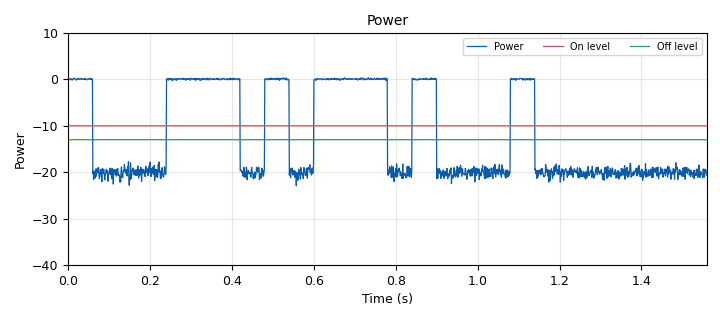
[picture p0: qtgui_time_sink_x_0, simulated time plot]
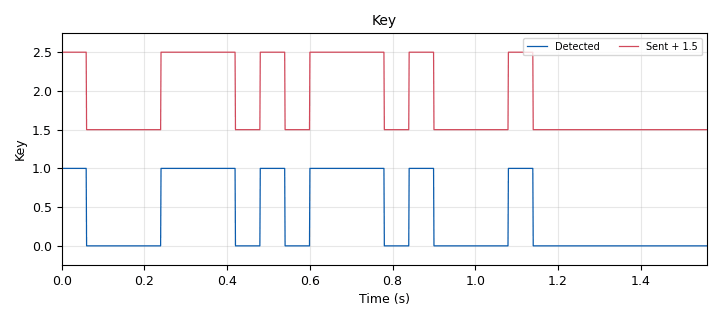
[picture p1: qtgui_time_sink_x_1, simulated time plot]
options:
  parameters:
    author: ECE 448
    description: 'L11: the Energy Detector as an Embedded Python Block, for a laptop with no OOT build tools.'
    generate_options: qt_gui
    id: L11_keyed_carrier_epy
    output_language: python
    title: L11 - Keyed Carrier (Embedded Python Block)
  states: {}

blocks:
- name: decim
  id: variable
  parameters:
    value: '32'
  states: {}
- name: hyst
  id: variable_qtgui_range
  parameters:
    gui_hint: 0,2,1,1
    label: Hysteresis (dB)
    start: '0'
    step: '0.5'
    stop: '10'
    value: '3'
  states: {}
- name: noise
  id: variable_qtgui_range
  parameters:
    gui_hint: 0,0,1,1
    label: Noise amplitude
    start: '0'
    step: '0.01'
    stop: '1.5'
    value: '0.1'
  states: {}
- name: samp_rate
  id: variable
  parameters:
    value: '32000'
  states: {}
- name: threshold
  id: variable_qtgui_range
  parameters:
    gui_hint: 0,1,1,1
    label: Threshold (dB)
    start: '-30'
    step: '0.5'
    stop: '10'
    value: '-10'
  states: {}
- name: unit
  id: variable
  parameters:
    value: int(samp_rate * 1.2 / wpm)
  states: {}
- name: wpm
  id: variable
  parameters:
    value: '20'
  states: {}
- name: analog_const_source_x_0
  id: analog_const_source_x
  parameters:
    const: threshold
    type: float
  states: {}
- name: analog_const_source_x_1
  id: analog_const_source_x
  parameters:
    const: threshold - hyst
    type: float
  states: {}
- name: analog_noise_source_x_0
  id: analog_noise_source_x
  parameters:
    amp: noise
    noise_type: analog.GR_GAUSSIAN
    seed: '0'
    type: complex
  states: {}
- name: analog_sig_source_x_0
  id: analog_sig_source_x
  parameters:
    amp: '1'
    freq: '1000'
    offset: '0'
    phase: '0'
    samp_rate: samp_rate
    type: complex
    waveform: analog.GR_COS_WAVE
  states: {}
- name: blocks_add_const_vxx_0
  id: blocks_add_const_vxx
  parameters:
    const: '1.5'
    type: float
  states: {}
- name: blocks_add_xx_0
  id: blocks_add_xx
  parameters:
    type: complex
  states: {}
- name: blocks_float_to_complex_0
  id: blocks_float_to_complex
  parameters: {}
  states: {}
- name: blocks_keep_one_in_n_0
  id: blocks_keep_one_in_n
  parameters:
    n: decim
    type: float
  states: {}
- name: blocks_multiply_xx_0
  id: blocks_multiply_xx
  parameters:
    type: complex
  states: {}
- name: blocks_repeat_0
  id: blocks_repeat
  parameters:
    interp: unit
    type: float
  states: {}
- name: blocks_throttle2_0
  id: blocks_throttle2
  parameters:
    samples_per_second: samp_rate
    type: complex
  states: {}
- name: blocks_vector_source_x_0
  id: blocks_vector_source_x
  parameters:
    repeat: 'True'
    tags: '[gr.tag_utils.python_to_tag((0, pmt.intern("ece"), pmt.PMT_T, pmt.intern("src")))]'
    type: float
    vector: '[1,0,0,0, 1,1,1,0,1,0,1,1,1,0,1,0,0,0, 1,0,0,0,0,0,0,0]'
  states: {}
- name: epy_block_0
  id: epy_block
  parameters:
    _source_code: |
      """Energy Detector, pasted into an Embedded Python Block. The class is the
      same as ece448.energy_detector in the L11 module; only its name is blk."""

      import numpy as np
      from gnuradio import gr


      class blk(gr.decim_block):
          """
          Energy Detector: averages |x|^2 over each run of `decim` input samples
          and makes one output sample per run on each of two outputs.

          Output 0 is that average power in dB. Output 1 is a key: 1.0 while a
          signal is present and 0.0 while it is not. The key turns on when the
          power rises above threshold_db and turns off only when the power falls
          below threshold_db - hysteresis_db, so noise near the threshold does
          not make the key chatter.
          """
          def __init__(self, decim=32, threshold_db=-20.0, hysteresis_db=3.0):
              gr.decim_block.__init__(self,
                  name="Energy Detector",
                  in_sig=[np.complex64],
                  out_sig=[np.float32, np.float32],
                  decim=decim)
              self.decim = decim
              self.threshold_db = threshold_db
              self.hysteresis_db = hysteresis_db
              self.key = 0.0          # the key state carries over between calls

          def set_threshold_db(self, threshold_db):
              self.threshold_db = threshold_db

          def set_hysteresis_db(self, hysteresis_db):
              self.hysteresis_db = hysteresis_db

          def work(self, input_items, output_items):
              n = len(output_items[0])
              x = input_items[0][:n * self.decim].reshape(n, self.decim)
              power_db = 10 * np.log10(np.mean(x.real**2 + x.imag**2, axis=1) + 1e-12)
              for i, p in enumerate(power_db):
                  if self.key == 0.0 and p > self.threshold_db:
                      self.key = 1.0
                  elif self.key == 1.0 and p < self.threshold_db - self.hysteresis_db:
                      self.key = 0.0
                  output_items[1][i] = self.key
              output_items[0][:] = power_db
              return n
    decim: decim
    hysteresis_db: hyst
    threshold_db: threshold
  states: {}
- name: import_0
  id: import
  parameters:
    imports: import pmt
  states: {}
- name: qtgui_time_sink_x_0
  id: qtgui_time_sink_x
  parameters:
    color2: dark green
    color3: red
    entags: 'False'
    gui_hint: 1,0,1,3
    label1: Power
    label2: On level
    label3: Off level
    name: '"Power"'
    nconnections: '3'
    size: '1560'
    srate: samp_rate / decim
    style2: '2'
    style3: '2'
    tr_mode: qtgui.TRIG_MODE_TAG
    tr_tag: '"ece"'
    type: float
    update_time: '0.1'
    width1: '2'
    ylabel: Power
    ymax: '10'
    ymin: '-40'
    yunit: dB
  states: {}
- name: qtgui_time_sink_x_1
  id: qtgui_time_sink_x
  parameters:
    color2: black
    entags: 'False'
    gui_hint: 2,0,1,3
    label1: Detected
    label2: Sent + 1.5
    name: '"Key"'
    nconnections: '2'
    size: '1560'
    srate: samp_rate / decim
    tr_mode: qtgui.TRIG_MODE_TAG
    tr_tag: '"ece"'
    type: float
    update_time: '0.1'
    width1: '2'
    width2: '2'
    ylabel: Key
    ymax: '2.75'
    ymin: '-0.25'
    yunit: ''
  states: {}

connections:
- [analog_const_source_x_0, '0', qtgui_time_sink_x_0, '1']
- [analog_const_source_x_1, '0', qtgui_time_sink_x_0, '2']
- [analog_noise_source_x_0, '0', blocks_add_xx_0, '1']
- [analog_sig_source_x_0, '0', blocks_multiply_xx_0, '1']
- [blocks_add_const_vxx_0, '0', qtgui_time_sink_x_1, '1']
- [blocks_add_xx_0, '0', blocks_throttle2_0, '0']
- [blocks_float_to_complex_0, '0', blocks_multiply_xx_0, '0']
- [blocks_keep_one_in_n_0, '0', blocks_add_const_vxx_0, '0']
- [blocks_multiply_xx_0, '0', blocks_add_xx_0, '0']
- [blocks_repeat_0, '0', blocks_float_to_complex_0, '0']
- [blocks_repeat_0, '0', blocks_keep_one_in_n_0, '0']
- [blocks_throttle2_0, '0', epy_block_0, '0']
- [blocks_vector_source_x_0, '0', blocks_repeat_0, '0']
- [epy_block_0, '0', qtgui_time_sink_x_0, '0']
- [epy_block_0, '1', qtgui_time_sink_x_1, '0']

metadata:
  file_format: 1
  grc_version: 3.10.9.2
